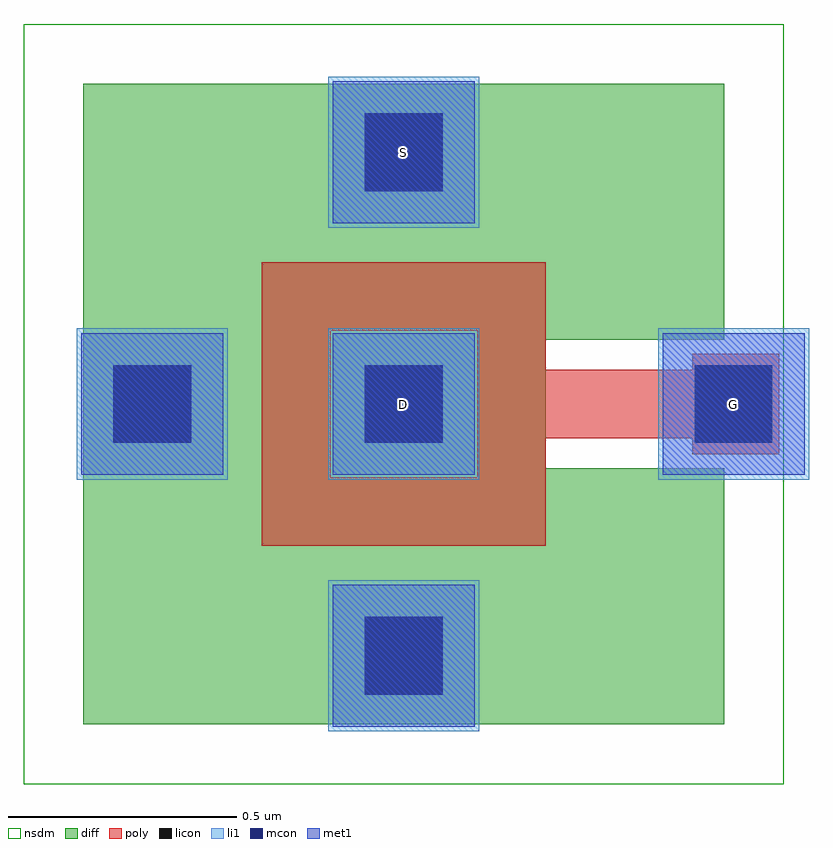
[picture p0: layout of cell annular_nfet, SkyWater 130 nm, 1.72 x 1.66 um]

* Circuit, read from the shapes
.subckt annular_nfet D G S
XM1 S G D VSUBS sky130_fd_pr__nfet_01v8 w=1.74 l=0.1621
.ends

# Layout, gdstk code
import gdstk
lib = gdstk.Library(unit=1e-6, precision=1e-09)
def R(c, l, rs):  # rectangles x0, y0, x1, y1
    for r in rs: c.add(gdstk.rectangle(r[:2], r[2:], *l))
def A(c, l, x, y, w, h, nx, ny, dx, dy):  # array of equal rectangles
    R(c, l, [(x+i*dx, y+j*dy, x+i*dx+w, y+j*dy+h) for i in range(nx) for j in range(ny)])
def P(c, l, *ps):  # polygons
    for p in ps: c.add(gdstk.Polygon(p, *l))
diff = (65, 20)
poly = (66, 20)
licon = (66, 44)
li1 = (67, 20)
mcon = (67, 44)
met1 = (68, 20)
nsdm = (93, 44)

annular_nfet = lib.new_cell('annular_nfet')
P(annular_nfet, diff, [(0.7,-0.14),(0.31,-0.14),(0.31,0.14),(0.7,0.14),(0.7,0.7),(-0.7,0.7),(-0.7,-0.7),(0.7,-0.7)])
P(annular_nfet, poly, [(0.31,-0.31),(0.31,-0.075),(0.63,-0.075),(0.63,-0.11),(0.82,-0.11),(0.82,0.11),(0.63,0.11),(0.63,0.075),(0.31,0.075),(0.31,0.31),(-0.31,0.31),(-0.31,-0.16),(-0.16,-0.16),(-0.16,0.16),(0.16,0.16),(0.16,-0.16),(-0.16,-0.16),(-0.31,-0.16),(-0.31,-0.31)])
A(annular_nfet, licon, -0.085, -0.635, 0.17, 0.17, 1, 3, 0, 0.55)
R(annular_nfet, licon, [(-0.635,-0.085,-0.465,0.085), (0.635,-0.085,0.805,0.085)])
A(annular_nfet, li1, -0.165, -0.715, 0.33, 0.33, 1, 3, 0, 0.55)
R(annular_nfet, li1, [(-0.715,-0.165,-0.385,0.165), (0.555,-0.165,0.885,0.165)])
A(annular_nfet, mcon, -0.085, -0.635, 0.17, 0.17, 1, 3, 0, 0.55)
R(annular_nfet, mcon, [(-0.635,-0.085,-0.465,0.085), (0.635,-0.085,0.805,0.085)])
A(annular_nfet, met1, -0.155, -0.705, 0.31, 0.31, 1, 3, 0, 0.55)
R(annular_nfet, met1, [(-0.705,-0.155,-0.395,0.155), (0.565,-0.155,0.875,0.155)])
R(annular_nfet, nsdm, [(-0.83,-0.83,0.83,0.83)])
annular_nfet.add(gdstk.Label('D', (0,0), layer=68, texttype=5))
annular_nfet.add(gdstk.Label('S', (0,0.55), layer=68, texttype=5))
annular_nfet.add(gdstk.Label('G', (0.72,0), layer=68, texttype=5))

lib.write_gds('annular_nfet.gds')
